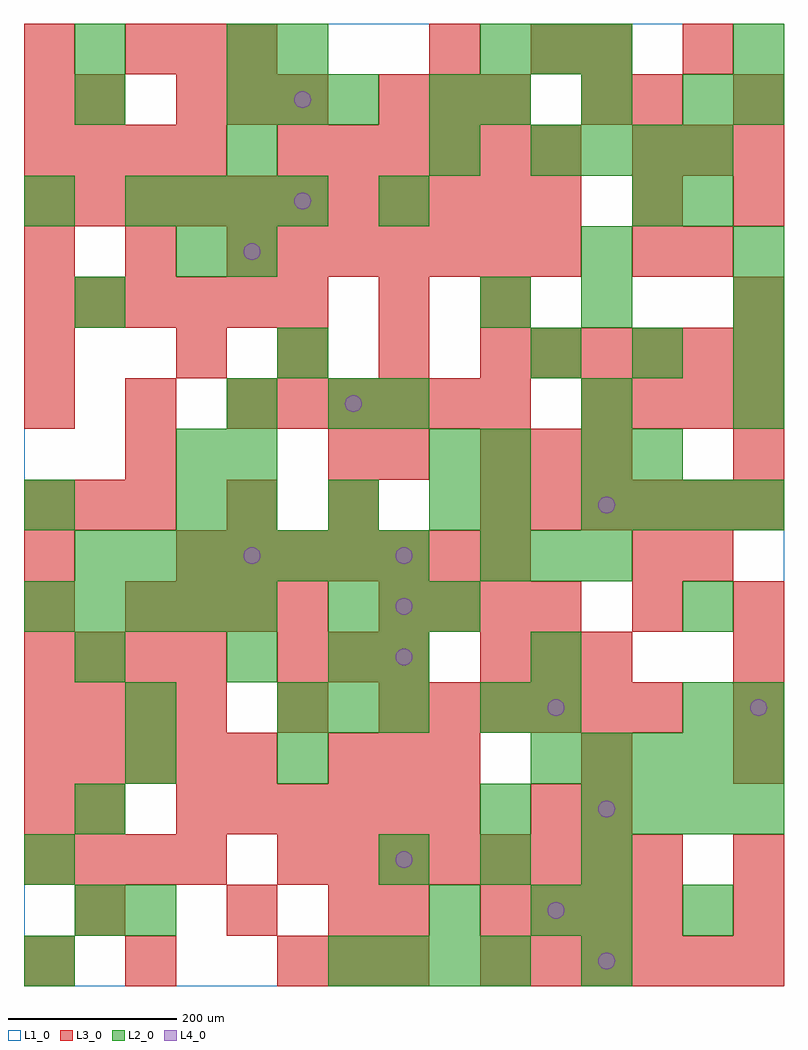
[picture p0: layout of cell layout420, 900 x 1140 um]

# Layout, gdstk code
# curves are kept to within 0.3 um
import gdstk
lib = gdstk.Library(unit=1e-6, precision=1e-09)
def R(c, l, rs):  # rectangles x0, y0, x1, y1
    for r in rs: c.add(gdstk.rectangle(r[:2], r[2:], *l))
def A(c, l, x, y, w, h, nx, ny, dx, dy):  # array of equal rectangles
    R(c, l, [(x+i*dx, y+j*dy, x+i*dx+w, y+j*dy+h) for i in range(nx) for j in range(ny)])
def P(c, l, *ps):  # polygons
    for p in ps: c.add(gdstk.Polygon(p, *l))
L1_0 = (1, 0)
L2_0 = (2, 0)
L3_0 = (3, 0)
L4_0 = (4, 0)

layout420 = lib.new_cell('layout420')
R(layout420, L1_0, [(0,0,900,1140)])
A(layout420, L2_0, 360, 0, 60, 60, 4, 1, 60, 0)
A(layout420, L2_0, 420, 120, 60, 60, 3, 1, 120, 0)
A(layout420, L2_0, 660, 180, 60, 60, 4, 2, 60, 360)
A(layout420, L2_0, 600, 240, 60, 60, 5, 1, 60, 0)
A(layout420, L2_0, 300, 300, 60, 60, 3, 1, 60, 0)
A(layout420, L2_0, 0, 420, 60, 60, 5, 1, 60, 0)
A(layout420, L2_0, 360, 420, 60, 60, 3, 1, 60, 0)
A(layout420, L2_0, 60, 480, 60, 60, 7, 1, 60, 0)
A(layout420, L2_0, 540, 480, 60, 60, 3, 2, 60, 600)
A(layout420, L2_0, 240, 540, 60, 60, 3, 1, 120, 0)
A(layout420, L2_0, 600, 720, 60, 60, 3, 1, 120, 0)
A(layout420, L2_0, 240, 840, 60, 60, 1, 3, 0, 120)
A(layout420, L2_0, 120, 900, 60, 60, 4, 1, 60, 0)
A(layout420, L2_0, 600, 960, 60, 60, 4, 1, 60, 0)
A(layout420, L2_0, 240, 1020, 60, 60, 3, 1, 60, 0)
A(layout420, L2_0, 540, 1020, 60, 60, 3, 1, 120, 0)
R(layout420, L2_0, [(0,0,60,60), (660,0,720,60), (60,60,120,120), (120,60,180,120), (480,60,540,120), (600,60,660,120), (660,60,720,120), (780,60,840,120), (0,120,60,180), (60,180,120,240), (540,180,600,240), (120,240,180,300), (300,240,360,300), (120,300,180,360), (540,300,600,360), (600,300,660,360), (780,300,840,360), (840,300,900,360), (60,360,120,420), (240,360,300,420), (360,360,420,420), (420,360,480,420), (600,360,660,420), (780,420,840,480), (0,540,60,600), (180,540,240,600), (540,540,600,600), (180,600,240,660), (240,600,300,660), (480,600,540,660), (540,600,600,660), (660,600,720,660), (720,600,780,660), (240,660,300,720), (360,660,420,720), (420,660,480,720), (660,660,720,720), (840,660,900,720), (300,720,360,780), (60,780,120,840), (540,780,600,840), (660,780,720,840), (840,780,900,840), (180,840,240,900), (660,840,720,900), (840,840,900,900), (0,900,60,960), (420,900,480,960), (720,900,780,960), (780,900,840,960), (480,960,540,1020), (60,1020,120,1080), (480,1020,540,1080), (840,1020,900,1080), (60,1080,120,1140), (300,1080,360,1140), (840,1080,900,1140)])
A(layout420, L3_0, 300, 0, 60, 60, 3, 2, 60, 360)
A(layout420, L3_0, 540, 0, 60, 60, 6, 2, 60, 540)
A(layout420, L3_0, 540, 60, 60, 60, 4, 1, 60, 0)
A(layout420, L3_0, 0, 120, 60, 60, 4, 2, 60, 180)
A(layout420, L3_0, 300, 120, 60, 60, 8, 1, 60, 0)
A(layout420, L3_0, 180, 180, 60, 60, 6, 1, 60, 0)
A(layout420, L3_0, 0, 240, 60, 60, 5, 1, 60, 0)
A(layout420, L3_0, 360, 240, 60, 60, 3, 1, 60, 0)
A(layout420, L3_0, 840, 240, 60, 60, 1, 4, 0, 60)
A(layout420, L3_0, 420, 300, 60, 60, 6, 1, 60, 0)
A(layout420, L3_0, 0, 360, 60, 60, 4, 2, 60, 600)
A(layout420, L3_0, 540, 360, 60, 60, 3, 2, 60, 240)
A(layout420, L3_0, 120, 420, 60, 60, 4, 1, 60, 0)
A(layout420, L3_0, 420, 420, 60, 60, 4, 1, 60, 0)
A(layout420, L3_0, 180, 480, 60, 60, 7, 1, 60, 0)
A(layout420, L3_0, 0, 540, 60, 60, 3, 1, 60, 0)
A(layout420, L3_0, 0, 660, 60, 60, 3, 2, 120, 180)
A(layout420, L3_0, 300, 660, 60, 60, 5, 1, 60, 0)
A(layout420, L3_0, 660, 660, 60, 60, 4, 1, 60, 0)
A(layout420, L3_0, 180, 720, 60, 60, 4, 1, 120, 0)
A(layout420, L3_0, 600, 720, 60, 60, 5, 1, 60, 0)
A(layout420, L3_0, 0, 780, 60, 60, 6, 1, 60, 0)
A(layout420, L3_0, 840, 780, 60, 60, 1, 3, 0, 120)
A(layout420, L3_0, 300, 840, 60, 60, 6, 2, 60, 120)
A(layout420, L3_0, 0, 900, 60, 60, 11, 1, 60, 0)
A(layout420, L3_0, 720, 960, 60, 60, 3, 1, 60, 0)
A(layout420, L3_0, 180, 1020, 60, 60, 3, 1, 60, 0)
A(layout420, L3_0, 420, 1020, 60, 60, 3, 1, 60, 0)
A(layout420, L3_0, 120, 1080, 60, 60, 3, 1, 60, 0)
R(layout420, L3_0, [(0,0,60,60), (120,0,180,60), (60,60,120,120), (240,60,300,120), (360,60,420,120), (420,60,480,120), (840,60,900,120), (840,120,900,180), (0,180,60,240), (60,180,120,240), (600,180,660,240), (660,180,720,240), (660,240,720,300), (300,300,360,360), (0,420,60,480), (720,420,780,480), (0,480,60,540), (720,480,780,540), (780,480,840,540), (240,540,300,600), (360,540,420,600), (120,600,180,660), (360,600,420,660), (420,600,480,660), (840,600,900,660), (0,720,60,780), (420,780,480,840), (540,780,600,840), (720,840,780,900), (780,840,840,900), (720,900,780,960), (0,1020,60,1080), (60,1020,120,1080), (660,1020,720,1080), (720,1020,780,1080), (0,1080,60,1140), (480,1080,540,1140), (600,1080,660,1140), (660,1080,720,1140), (780,1080,840,1140)])
P(layout420, L4_0, [(280,510),(279.239,513.827),(277.071,517.071),(273.827,519.239),(270,520),(266.173,519.239),(262.929,517.071),(260.761,513.827),(260,510),(260.761,506.173),(262.929,502.929),(266.173,500.761),(270,500),(273.827,500.761),(277.071,502.929),(279.239,506.173)],
  [(280,870),(279.239,873.827),(277.071,877.071),(273.827,879.239),(270,880),(266.173,879.239),(262.929,877.071),(260.761,873.827),(260,870),(260.761,866.173),(262.929,862.929),(266.173,860.761),(270,860),(273.827,860.761),(277.071,862.929),(279.239,866.173)],
  [(340,930),(339.239,933.827),(337.071,937.071),(333.827,939.239),(330,940),(326.173,939.239),(322.929,937.071),(320.761,933.827),(320,930),(320.761,926.173),(322.929,922.929),(326.173,920.761),(330,920),(333.827,920.761),(337.071,922.929),(339.239,926.173)],
  [(340,1050),(339.239,1053.827),(337.071,1057.071),(333.827,1059.239),(330,1060),(326.173,1059.239),(322.929,1057.071),(320.761,1053.827),(320,1050),(320.761,1046.173),(322.929,1042.929),(326.173,1040.761),(330,1040),(333.827,1040.761),(337.071,1042.929),(339.239,1046.173)],
  [(400,690),(399.239,693.827),(397.071,697.071),(393.827,699.239),(390,700),(386.173,699.239),(382.929,697.071),(380.761,693.827),(380,690),(380.761,686.173),(382.929,682.929),(386.173,680.761),(390,680),(393.827,680.761),(397.071,682.929),(399.239,686.173)],
  [(460,150),(459.239,153.827),(457.071,157.071),(453.827,159.239),(450,160),(446.173,159.239),(442.929,157.071),(440.761,153.827),(440,150),(440.761,146.173),(442.929,142.929),(446.173,140.761),(450,140),(453.827,140.761),(457.071,142.929),(459.239,146.173)],
  [(460,390),(459.239,393.827),(457.071,397.071),(453.827,399.239),(450,400),(446.173,399.239),(442.929,397.071),(440.761,393.827),(440,390),(440.761,386.173),(442.929,382.929),(446.173,380.761),(450,380),(453.827,380.761),(457.071,382.929),(459.239,386.173)],
  [(460,450),(459.239,453.827),(457.071,457.071),(453.827,459.239),(450,460),(446.173,459.239),(442.929,457.071),(440.761,453.827),(440,450),(440.761,446.173),(442.929,442.929),(446.173,440.761),(450,440),(453.827,440.761),(457.071,442.929),(459.239,446.173)],
  [(460,510),(459.239,513.827),(457.071,517.071),(453.827,519.239),(450,520),(446.173,519.239),(442.929,517.071),(440.761,513.827),(440,510),(440.761,506.173),(442.929,502.929),(446.173,500.761),(450,500),(453.827,500.761),(457.071,502.929),(459.239,506.173)],
  [(640,90),(639.239,93.827),(637.071,97.071),(633.827,99.239),(630,100),(626.173,99.239),(622.929,97.071),(620.761,93.827),(620,90),(620.761,86.173),(622.929,82.929),(626.173,80.761),(630,80),(633.827,80.761),(637.071,82.929),(639.239,86.173)],
  [(640,330),(639.239,333.827),(637.071,337.071),(633.827,339.239),(630,340),(626.173,339.239),(622.929,337.071),(620.761,333.827),(620,330),(620.761,326.173),(622.929,322.929),(626.173,320.761),(630,320),(633.827,320.761),(637.071,322.929),(639.239,326.173)],
  [(700,30),(699.239,33.827),(697.071,37.071),(693.827,39.239),(690,40),(686.173,39.239),(682.929,37.071),(680.761,33.827),(680,30),(680.761,26.173),(682.929,22.929),(686.173,20.761),(690,20),(693.827,20.761),(697.071,22.929),(699.239,26.173)],
  [(700,210),(699.239,213.827),(697.071,217.071),(693.827,219.239),(690,220),(686.173,219.239),(682.929,217.071),(680.761,213.827),(680,210),(680.761,206.173),(682.929,202.929),(686.173,200.761),(690,200),(693.827,200.761),(697.071,202.929),(699.239,206.173)],
  [(700,570),(699.239,573.827),(697.071,577.071),(693.827,579.239),(690,580),(686.173,579.239),(682.929,577.071),(680.761,573.827),(680,570),(680.761,566.173),(682.929,562.929),(686.173,560.761),(690,560),(693.827,560.761),(697.071,562.929),(699.239,566.173)],
  [(880,330),(879.239,333.827),(877.071,337.071),(873.827,339.239),(870,340),(866.173,339.239),(862.929,337.071),(860.761,333.827),(860,330),(860.761,326.173),(862.929,322.929),(866.173,320.761),(870,320),(873.827,320.761),(877.071,322.929),(879.239,326.173)])

lib.write_gds('layout420.gds')
